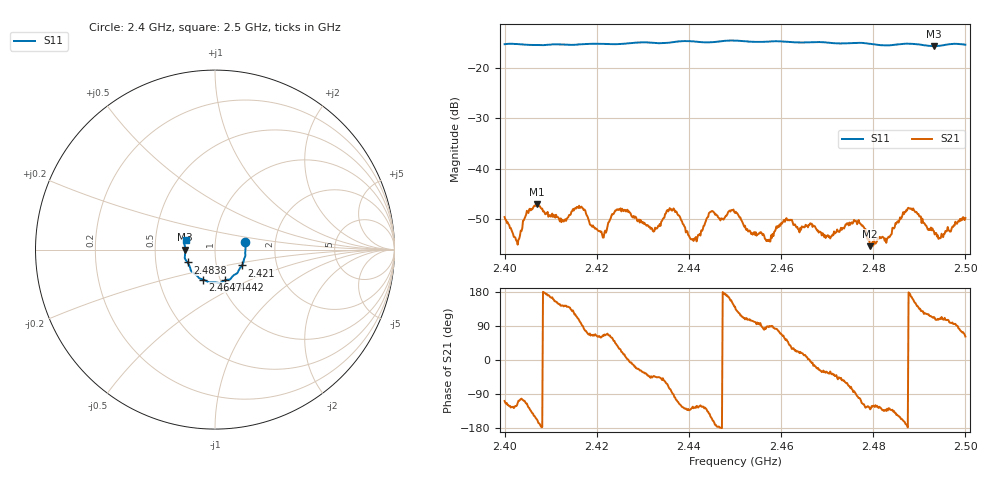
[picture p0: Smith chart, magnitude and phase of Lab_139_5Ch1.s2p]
# Hz S RI R 50
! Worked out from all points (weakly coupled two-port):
!   601 points, 2.4 GHz to 2.5 GHz, reference 50 ohm
!   highest |S21| = -47.09 dB at 2.407 GHz (marker M1); lowest = -55.4 dB at 2.4793 GHz (marker M2)
!   lowest |S11| = -15.6 dB at 2.4932 GHz (marker M3), VSWR 1.40, Z = 35.8 - j0.0836 ohm
!   |S11| at or under -10 dB: start of sweep to end of sweep
!   S12 and S22 are empty: the file has one direction only
!   S11 on the Smith chart (normalised r, x): 2.4 GHz: 1.40, +0.12; 2.421 GHz: 1.33, -0.24; 2.4442 GHz: 1.05, -0.37; 2.4647 GHz: 0.83, -0.29; 2.4838 GHz: 0.73, -0.11; 2.5 GHz: 0.72, +0.08
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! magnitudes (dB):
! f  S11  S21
! 2.4 GHz  -15.2  -49.6
! 2.4028 GHz  -15.2  -55.1
! 2.407 GHz  -15.4  -47.1
! 2.4125 GHz  -15.3  -50.1
! 2.4167 GHz  -15.2  -47.5
! 2.421 GHz  -15.2  -52.5
! 2.4247 GHz  -15.2  -48.0
! 2.4333 GHz  -15.0  -51.3
! 2.4363 GHz  -14.9  -48.3
! 2.4412 GHz  -14.7  -53.9
! 2.4442 GHz  -14.9  -49.6
! 2.45 GHz  -14.5  -48.8
! 2.4572 GHz  -14.7  -54.3
! 2.4647 GHz  -14.9  -51.6
! 2.4667 GHz  -14.8  -50.9
! 2.4763 GHz  -15.0  -50.4
! 2.4793 GHz  -15.2  -55.4
! 2.4833 GHz  -15.5  -53.5
! 2.4838 GHz  -15.4  -53.1
! 2.488 GHz  -15.2  -47.9
! 2.4932 GHz  -15.6  -52.4
! 2.5 GHz  -15.3  -49.8
